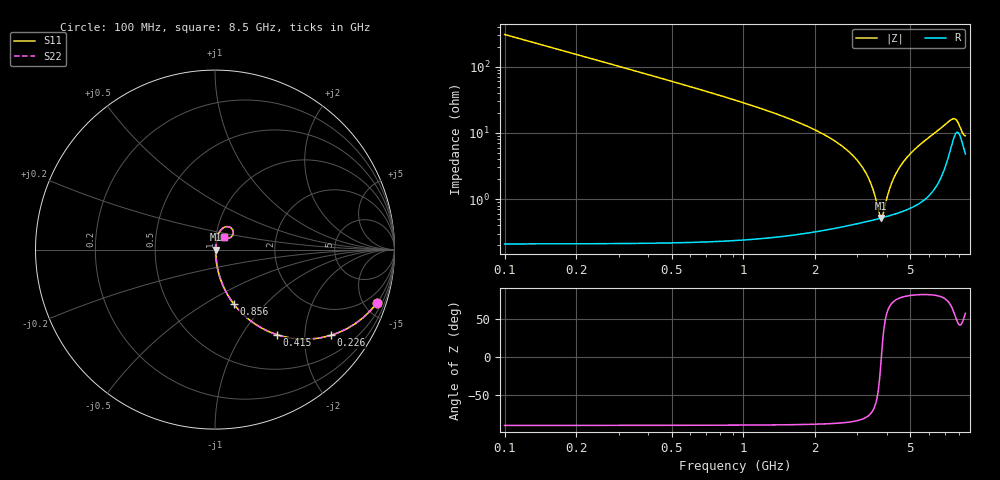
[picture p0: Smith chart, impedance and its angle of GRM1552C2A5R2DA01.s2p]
!Murata Part Number: GRM1552C2A5R2DA01
!These Parameters are Measured in Series Mode Connection
!Data Generated on Mar 30, 2021
!  o--ll--o
!Port1  Port2
!  o------o
!Operation Temp=25[degC], DC Bias Voltage=0[V]
!Freq. Start=100[MHz] Stop=9[GHz] 401[Steps]
# Hz S RI R 50
!Freq.(Hz) S11(Real) S11(Imag) S21(Real) S21(Imag) S12(Real) S12(Imag) S22(Real) S22(Imag)
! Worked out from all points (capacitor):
!   401 points, 100 MHz to 8.5 GHz, reference 50 ohm
!   read as one part in series: C = 5.2 pF near 142 MHz
!   lowest |Z| = 519 mohm at 3.775 GHz (marker M1)
!   series resonance near 3.78 GHz, so ESL is about 340 pH
!   S11 on the Smith chart (normalised r, x): 100 MHz: 1.00, -6.12; 226 MHz: 1.00, -2.70; 415 MHz: 1.00, -1.46; 856 MHz: 1.00, -0.68; 8.5 GHz: 1.10, +0.15
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1e8  0.9033 -0.2953  0.0967 0.2953  0.0967 0.2953  0.9033 -0.2953
2.26e8  0.6453 -0.4776  0.3547 0.4776  0.3547 0.4776  0.6453 -0.4776
4.15e8  0.3472 -0.4746  0.6528 0.4746  0.6528 0.4746  0.3472 -0.4746
6.04e8  0.1971 -0.3956  0.8029 0.3956  0.8029 0.3956  0.1971 -0.3956
8.56e8  0.1048 -0.3029  0.8952 0.3029  0.8952 0.3029  0.1048 -0.3029
1.507e9  0.0309 -0.1651  0.9691 0.1651  0.9691 0.1651  0.0309 -0.1651
2.41e9  0.00921 -0.0746  0.9908 0.0746  0.9908 0.0746  0.00921 -0.0746
2.914e9  0.00594 -0.0424  0.9941 0.0424  0.9941 0.0424  0.00594 -0.0424
3.166e9  0.00525 -0.0288  0.9948 0.0288  0.9948 0.0288  0.00525 -0.0288
3.376e9  0.005 -0.0183  0.995 0.0183  0.995 0.0183  0.005 -0.0183
3.523e9  0.00497 -0.0114  0.995 0.0114  0.995 0.0114  0.00497 -0.0114
3.712e9  0.00508 -0.00295  0.9949 0.00295  0.9949 0.00295  0.00508 -0.00295
3.775e9  0.00516 -0.000213  0.9948 0.000213  0.9948 0.000213  0.00516 -0.000213
3.838e9  0.00524 0.00248  0.9948 -0.00248  0.9948 -0.00248  0.00524 0.00248
4.09e9  0.00575 0.0129  0.9943 -0.0129  0.9943 -0.0129  0.00575 0.0129
4.3e9  0.00634 0.0212  0.9937 -0.0212  0.9937 -0.0212  0.00634 0.0212
4.846e9  0.00861 0.0416  0.9914 -0.0416  0.9914 -0.0416  0.00861 0.0416
5.707e9  0.0149 0.0723  0.9851 -0.0723  0.9851 -0.0723  0.0149 0.0723
7.114e9  0.0515 0.1244  0.9485 -0.1244  0.9485 -0.1244  0.0515 0.1244
7.702e9  0.0991 0.1087  0.9009 -0.1087  0.9009 -0.1087  0.0991 0.1087
8.269e9  0.0684 0.0635  0.9316 -0.0635  0.9316 -0.0635  0.0684 0.0635
8.5e9  0.0509 0.0692  0.9491 -0.0692  0.9491 -0.0692  0.0509 0.0692
